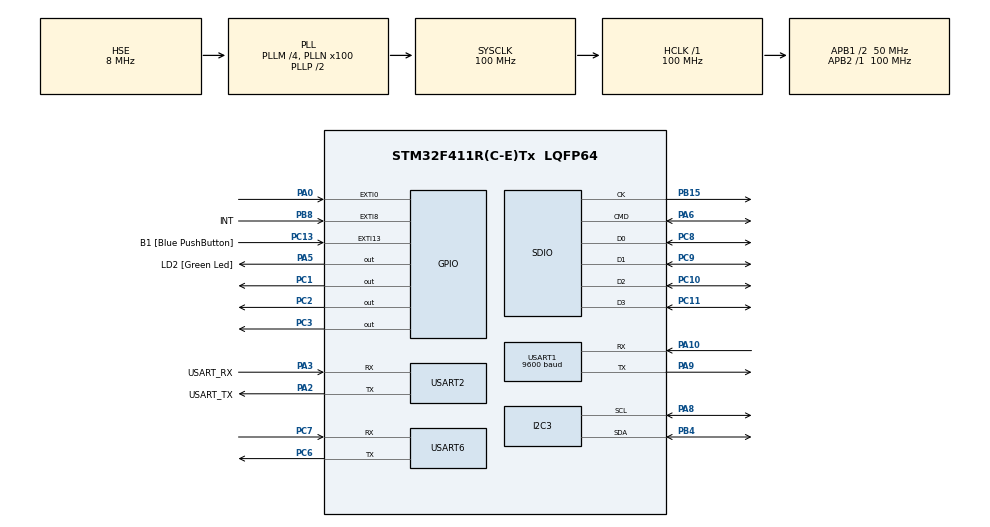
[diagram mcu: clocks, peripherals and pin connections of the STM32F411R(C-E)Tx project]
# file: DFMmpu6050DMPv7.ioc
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Dma.Request0=SDIO_RX
Dma.Request1=SDIO_TX
Dma.SDIO_RX.0.Direction=DMA_PERIPH_TO_MEMORY
Dma.SDIO_RX.0.FIFOMode=DMA_FIFOMODE_ENABLE
Dma.SDIO_RX.0.FIFOThreshold=DMA_FIFO_THRESHOLD_FULL
Dma.SDIO_RX.0.Instance=DMA2_Stream3
Dma.SDIO_RX.0.MemBurst=DMA_MBURST_INC4
Dma.SDIO_RX.0.MemDataAlignment=DMA_MDATAALIGN_WORD
Dma.SDIO_RX.0.MemInc=DMA_MINC_ENABLE
Dma.SDIO_RX.0.Mode=DMA_PFCTRL
Dma.SDIO_RX.0.PeriphBurst=DMA_PBURST_INC4
Dma.SDIO_RX.0.PeriphDataAlignment=DMA_PDATAALIGN_WORD
Dma.SDIO_RX.0.PeriphInc=DMA_PINC_DISABLE
Dma.SDIO_RX.0.Priority=DMA_PRIORITY_LOW
Dma.SDIO_TX.1.Direction=DMA_MEMORY_TO_PERIPH
Dma.SDIO_TX.1.FIFOMode=DMA_FIFOMODE_ENABLE
Dma.SDIO_TX.1.FIFOThreshold=DMA_FIFO_THRESHOLD_FULL
Dma.SDIO_TX.1.Instance=DMA2_Stream6
Dma.SDIO_TX.1.MemBurst=DMA_MBURST_INC4
Dma.SDIO_TX.1.MemDataAlignment=DMA_MDATAALIGN_WORD
Dma.SDIO_TX.1.MemInc=DMA_MINC_ENABLE
Dma.SDIO_TX.1.Mode=DMA_PFCTRL
Dma.SDIO_TX.1.PeriphBurst=DMA_PBURST_INC4
Dma.SDIO_TX.1.PeriphDataAlignment=DMA_PDATAALIGN_WORD
Dma.SDIO_TX.1.PeriphInc=DMA_PINC_DISABLE
Dma.SDIO_TX.1.Priority=DMA_PRIORITY_LOW
FATFS.USE_DMA_CODE_SD=1
I2C3.I2C_Mode=I2C_Fast
Mcu.Family=STM32F4
Mcu.Name=STM32F411R(C-E)Tx
Mcu.Package=LQFP64
NVIC.DMA2_Stream3_IRQn=true\:0\:0\:false\:false\:true\:false\:true
NVIC.DMA2_Stream6_IRQn=true\:0\:0\:false\:false\:true\:false\:true
NVIC.EXTI0_IRQn=true\:0\:0\:true\:false\:true\:true\:true
NVIC.EXTI9_5_IRQn=true\:0\:0\:false\:false\:true\:true\:true
NVIC.PriorityGroup=NVIC_PRIORITYGROUP_0
NVIC.SDIO_IRQn=true\:0\:0\:false\:false\:true\:true\:true
NVIC.USART1_IRQn=true\:0\:0\:false\:false\:true\:true\:true
NVIC.USART6_IRQn=true\:0\:0\:false\:false\:true\:true\:true
PA0-WKUP.Signal=GPXTI0
PA10.Mode=Asynchronous
PA10.Signal=USART1_RX
PA13.GPIO_Label=TMS
PA13.Mode=Serial_Wire
PA13.Signal=SYS_JTMS-SWDIO
PA14.GPIO_Label=TCK
PA14.Mode=Serial_Wire
PA14.Signal=SYS_JTCK-SWCLK
PA2.GPIO_Label=USART_TX
PA2.Mode=Asynchronous
PA2.Signal=USART2_TX
PA3.GPIO_Label=USART_RX
PA3.Mode=Asynchronous
PA3.Signal=USART2_RX
PA5.GPIO_Label=LD2 [Green Led]
PA5.Signal=GPIO_Output
PA6.Mode=SD_4_bits_Wide_bus
PA6.Signal=SDIO_CMD
PA8.Mode=I2C
PA8.Signal=I2C3_SCL
PA9.Mode=Asynchronous
PA9.Signal=USART1_TX
PB15.Mode=SD_4_bits_Wide_bus
PB15.Signal=SDIO_CK
PB3.GPIO_Label=SWO
PB3.Signal=SYS_JTDO-SWO
PB4.Mode=I2C
PB4.Signal=I2C3_SDA
PB8.GPIO_Label=INT
PB8.Signal=GPXTI8
PC1.Signal=GPIO_Output
PC10.Mode=SD_4_bits_Wide_bus
PC10.Signal=SDIO_D2
PC11.Mode=SD_4_bits_Wide_bus
PC11.Signal=SDIO_D3
PC13-ANTI_TAMP.GPIO_Label=B1 [Blue PushButton]
PC13-ANTI_TAMP.GPIO_ModeDefaultEXTI=GPIO_MODE_IT_FALLING
PC13-ANTI_TAMP.Signal=GPXTI13
PC14-OSC32_IN.Mode=LSE-External-Oscillator
PC14-OSC32_IN.Signal=RCC_OSC32_IN
PC15-OSC32_OUT.Mode=LSE-External-Oscillator
PC15-OSC32_OUT.Signal=RCC_OSC32_OUT
PC2.Signal=GPIO_Output
PC3.Signal=GPIO_Output
PC6.Mode=Asynchronous
PC6.Signal=USART6_TX
PC7.Mode=Asynchronous
PC7.Signal=USART6_RX
PC8.Mode=SD_4_bits_Wide_bus
PC8.Signal=SDIO_D0
PC9.Mode=SD_4_bits_Wide_bus
PC9.Signal=SDIO_D1
PH0\ -\ OSC_IN.Mode=HSE-External-Clock-Source
PH0\ -\ OSC_IN.Signal=RCC_OSC_IN
PH1\ -\ OSC_OUT.Mode=HSE-External-Clock-Source
PH1\ -\ OSC_OUT.Signal=RCC_OSC_OUT
ProjectManager.HeapSize=0x200
ProjectManager.StackSize=0x400
ProjectManager.TargetToolchain=STM32CubeIDE
RCC.48MHZClocksFreq_Value=40000000
RCC.AHBFreq_Value=100000000
RCC.APB1CLKDivider=RCC_HCLK_DIV2
RCC.APB1Freq_Value=50000000
RCC.APB1TimFreq_Value=100000000
RCC.APB2Freq_Value=100000000
RCC.APB2TimFreq_Value=100000000
RCC.CortexFreq_Value=100000000
RCC.FLatency-AdvancedSettings=FLASH_LATENCY_3
RCC.HCLKFreq_Value=100000000
RCC.HSE_VALUE=8000000
RCC.HSI_VALUE=16000000
RCC.PLLM=4
RCC.PLLN=100
RCC.PLLQ=5
RCC.PLLSourceVirtual=RCC_PLLSOURCE_HSE
RCC.SYSCLKFreq_VALUE=100000000
RCC.SYSCLKSource=RCC_SYSCLKSOURCE_PLLCLK
RCC.VCOOutputFreq_Value=200000000
USART1.BaudRate=9600
USART1.VirtualMode=VM_ASYNC
USART2.VirtualMode=VM_ASYNC
USART6.VirtualMode=VM_ASYNC
VP_FATFS_VS_SDIO.Mode=SDIO
board=NUCLEO-F411RE

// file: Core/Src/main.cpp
                      /* USER CODE BEGIN Header */
/**
  ******************************************************************************
  * @file           : main.c
  * @brief          : Main program body
  ******************************************************************************
  * @attention
  *
  * <h2><center>&copy; Copyright (c) 2021 STMicroelectronics.
  * All rights reserved.</center></h2>
  *
  * This software component is licensed by ST under Ultimate Liberty license
  * SLA0044, the "License"; You may not use this file except in compliance with
  * the License. You may obtain a copy of the License at:
  *                             www.st.com/SLA0044
  *
  ******************************************************************************
  */
/* USER CODE END Header */
#include "main.h"
#include "dma.h"
#include "fatfs.h"
#include "i2c.h"
#include "sdio.h"
#include "usart.h"
#include "gpio.h"

/* USER CODE BEGIN Includes */
#include "MPU6050_6Axis_MotionApps_V6_12.h"
/* USER CODE END Includes */

/* USER CODE BEGIN PV */
MPU6050 mpu;
//MPU6050 mpu(0x69); // <-- use for AD0 high

/* =========================================================================
   NOTE: In addition to connection 3.3v, GND, SDA, and SCL, this sketch
   depends on the MPU-6050's INT pin being connected to the Arduino's
   external interrupt #0 pin. On the Arduino Uno and Mega 2560, this is
   digital I/O pin 2.
   ========================================================================= */

/* =========================================================================
   NOTE: Arduino v1.0.1 with the Leonardo board generates a compile error
   when using Serial.write(buf, len). The Teapot output uses this method.
   The solution requires a modification to the Arduino USBAPI.h file, which
   is fortunately simple, but annoying. This will be fixed in the next IDE
   release. For more info, see these links:
   http://arduino.cc/forum/index.php/topic,109987.0.html
   http://code.google.com/p/arduino/issues/detail?id=958
   ========================================================================= */

// uncomment "OUTPUT_READABLE_QUATERNION" if you want to see the actual
// quaternion components in a [w, x, y, z] format (not best for parsing
// on a remote host such as Processing or something though)
//#define OUTPUT_READABLE_QUATERNION

// uncomment "OUTPUT_READABLE_EULER" if you want to see Euler angles
// (in degrees) calculated from the quaternions coming from the FIFO.
// Note that Euler angles suffer from gimbal lock (for more info, see
// http://en.wikipedia.org/wiki/Gimbal_lock)
//#define OUTPUT_READABLE_EULER

// uncomment "OUTPUT_READABLE_YAWPITCHROLL" if you want to see the yaw/
// pitch/roll angles (in degrees) calculated from the quaternions coming
// from the FIFO. Note this also requires gravity vector calculations.
// Also note that yaw/pitch/roll angles suffer from gimbal lock (for
// more info, see: http://en.wikipedia.org/wiki/Gimbal_lock)
#define OUTPUT_READABLE_YAWPITCHROLL

// uncomment "OUTPUT_READABLE_REALACCEL" if you want to see acceleration
// components with gravity removed. This acceleration reference frame is
// not compensated for orientation, so +X is always +X according to the
// sensor, just without the effects of gravity. If you want acceleration
// compensated for orientation, us OUTPUT_READABLE_WORLDACCEL instead.
//#define OUTPUT_READABLE_REALACCEL

// uncomment "OUTPUT_READABLE_WORLDACCEL" if you want to see acceleration
// components with gravity removed and adjusted for the world frame of
// reference (yaw is relative to initial orientation, since no magnetometer
// is present in this case). Could be quite handy in some cases.
//#define OUTPUT_READABLE_WORLDACCEL

// uncomment "OUTPUT_TEAPOT" if you want output that matches the
// format used for the InvenSense teapot demo
//#define OUTPUT_TEAPOT

bool blinkState = false;

// MPU control/status vars
bool dmpReady = false;  // set true if DMP init was successful
uint8_t mpuIntStatus;   // holds actual interrupt status byte from MPU
uint8_t devStatus;      // return status after each device operation (0 = success, !0 = error)
uint16_t packetSize;    // expected DMP packet size (default is 42 bytes)
uint16_t fifoCount;     // count of all bytes currently in FIFO
uint8_t fifoBuffer[64]; // FIFO storage buffer

// orientation/motion vars
Quaternion q;           // [w, x, y, z]         quaternion container
VectorInt16 aa;         // [x, y, z]            accel sensor measurements
VectorInt16 gy;         // [x, y, z]            gyro sensor measurements
VectorInt16 aaReal;     // [x, y, z]            gravity-free accel sensor measurements
VectorInt16 aaWorld;    // [x, y, z]            world-frame accel sensor measurements
VectorFloat gravity;    // [x, y, z]            gravity vector
float euler[3];         // [psi, theta, phi]    Euler angle container
float ypr[3];           // [yaw, pitch, roll]   yaw/pitch/roll container and gravity vector

// packet structure for InvenSense teapot demo
uint8_t teapotPacket[14] = { '$', 0x02, 0, 0, 0, 0, 0, 0, 0, 0, 0x00, 0x00, '\r', '\n' };

int16_t a_x,a_y,a_z,g_x,g_y,g_z;//6 motion
/* USER CODE END PV */

void SystemClock_Config(void);

int main(void)
{

  /* MCU Configuration--------------------------------------------------------*/

  /* Reset of all peripherals, Initializes the Flash interface and the Systick. */
  HAL_Init();

  /* Configure the system clock */
  SystemClock_Config();

  /* Initialize all configured peripherals */
  MX_GPIO_Init();
  MX_USART2_UART_Init();
  MX_DMA_Init();
  MX_SDIO_SD_Init();
  MX_USART1_UART_Init();
  MX_USART6_UART_Init();
  MX_FATFS_Init();
  MX_I2C3_Init();
  /* USER CODE BEGIN 2 */
  // initialize device

        printf(F("Initializing I2C devices...\n"));//F(x)=x
        mpu.initialize();
        delay(1000);

        // verify connection
        printf(F("Testing device connections...\n"));
    //    while(!mpu.testConnection())
    //    {
    //        HAL_I2C_MspDeInit(&hi2c1);
    //        __HAL_RCC_GPIOB_CLK_DISABLE();
    //        HAL_Delay(250);
    //        HAL_I2C_MspInit(&hi2c1);
    //        HAL_Delay(250);
    //        HAL_UART_Transmit(&huart1,(uint8_t *)".",1,100);
    //        //HAL_NVIC_SystemReset();
    //    }
        printf(mpu.testConnection() ? F("MPU6050 connection successful\n") : F("MPU6050 connection failed\n"));

        // wait for ready

        // load and configure the DMP
        printf(F("Initializing DMP...\n"));

        // supply your own gyro offsets here, scaled for min sensitivity
        mpu.setXGyroOffset(30);
        mpu.setYGyroOffset(58);
        mpu.setZGyroOffset(21);
        mpu.setXAccelOffset(0);
        mpu.setYAccelOffset(0);
        mpu.setZAccelOffset(0);

        devStatus = mpu.dmpInitialize();
        // make sure it worked (returns 0 if so)
        if (devStatus == 0)
        {
            // Calibration Time: generate offsets and calibrate our MPU6050
            mpu.CalibrateAccel(6);
            mpu.CalibrateGyro(6);
            mpu.PrintActiveOffsets();
            // turn on the DMP, now that it's ready
            printf(F("Enabling DMP...\n"));
            mpu.setDMPEnabled(true);

            // enable Arduino interrupt detection
            mpuIntStatus = mpu.getIntStatus();

            // set our DMP Ready flag so the main loop() function knows it's okay to use it
            printf(F("DMP ready! Waiting for first interrupt...\n"));
    //        float a;
    //        printf("int is %d\n",sizeof(a));
            dmpReady = true;

            // get expected DMP packet size for later comparison
            packetSize = mpu.dmpGetFIFOPacketSize();
        }
        else
        {
            // ERROR!
            // 1 = initial memory load failed
            // 2 = DMP configuration updates failed
            // (if it's going to break, usually the code will be 1)
            printf(F("DMP Initialization failed (code "));
            printf("%d",devStatus);
            printf(F(")\n"));
        }
  /* USER CODE END 2 */

  /* Infinite loop */
  /* USER CODE BEGIN WHILE */
  while (1)
  {
	  if (!dmpReady)
	  	 	 	        continue;
	  	 	 	    if (mpu.dmpGetCurrentFIFOPacket(fifoBuffer))
	  	 	 	    {
	  	 	 	/* USER CODE BEGIN 3 */
	  	 	 	#ifdef OUTPUT_READABLE_QUATERNION
	  	 	 	        // display quaternion values in easy matrix form: w x y z
	  	 	 	        mpu.dmpGetQuaternion(&q, fifoBuffer);
	  	 	 	        printf("quat\t");
	  	 	 	        printf(q.w);
	  	 	 	        printf("\t");
	  	 	 	        printf(q.x);
	  	 	 	        printf("\t");
	  	 	 	        printf(q.y);
	  	 	 	        printf("\t");
	  	 	 	        printfln(q.z);
	  	 	 	#endif

	  	 	 	#ifdef OUTPUT_READABLE_EULER
	  	 	 	        // display Euler angles in degrees
	  	 	 	        mpu.dmpGetQuaternion(&q, fifoBuffer);
	  	 	 	        mpu.dmpGetEuler(euler, &q);
	  	 	 	        printf("euler\t");
	  	 	 	        printf(euler[0] * 180 / M_PI);
	  	 	 	        printf("\t");
	  	 	 	        printf(euler[1] * 180 / M_PI);
	  	 	 	        printf("\t");
	  	 	 	        printfln(euler[2] * 180 / M_PI);
	  	 	 	#endif

	  	 	 	#ifdef OUTPUT_READABLE_YAWPITCHROLL
	  	 	 	        // display Euler angles in degrees
	  	 	 	        mpu.dmpGetQuaternion(&q, fifoBuffer);
	  	 	 	        mpu.dmpGetGravity(&gravity, &q);
	  	 	 	        mpu.dmpGetYawPitchRoll(ypr, &q, &gravity);
	  	 	 	        //mpu.getMotion6(&a_x, &a_y, &a_z, &g_x, &g_y, &g_z);
	  	 	 	        //printf("6:\t%d\t%d\t%d\t%d\t%d\t%d\n", a_x, a_y, a_z, g_x, g_y, g_z);
	  	 	 	        printf("ypr: ");
	  	 	 	        printf("%.2f", ypr[0] * 180 / M_PI);
	  	 	 	        printf("\t");
	  	 	 	        printf("%.2f", ypr[1] * 180 / M_PI);
	  	 	 	        printf("\t");
	  	 	 	        printf("%.2f", ypr[2] * 180 / M_PI);
	  	 	 	        printf("\r\n");
	  	 	 	        /*
	  	 	 	          mpu.dmpGetAccel(&aa, fifoBuffer);
	  	 	 	          printf("\tRaw Accl XYZ\t");
	  	 	 	          printf(aa.x);
	  	 	 	          printf("\t");
	  	 	 	          printf(aa.y);
	  	 	 	          printf("\t");
	  	 	 	          printf(aa.z);
	  	 	 	          mpu.dmpGetGyro(&gy, fifoBuffer);
	  	 	 	          printf("\tRaw Gyro XYZ\t");
	  	 	 	          printf(gy.x);
	  	 	 	          printf("\t");
	  	 	 	          printf(gy.y);
	  	 	 	          printf("\t");
	  	 	 	          printf(gy.z);
	  	 	 	        */
	  	 	 	        printf("\n");

	  	 	 	#endif

	  	 	 	#ifdef OUTPUT_READABLE_REALACCEL
	  	 	 	        // display real acceleration, adjusted to remove gravity
	  	 	 	        mpu.dmpGetQuaternion(&q, fifoBuffer);
	  	 	 	        mpu.dmpGetAccel(&aa, fifoBuffer);
	  	 	 	        mpu.dmpGetGravity(&gravity, &q);
	  	 	 	        mpu.dmpGetLinearAccel(&aaReal, &aa, &gravity);
	  	 	 	        printf("areal\t");
	  	 	 	        printf(aaReal.x);
	  	 	 	        printf("\t");
	  	 	 	        printf(aaReal.y);
	  	 	 	        printf("\t");
	  	 	 	        printfln(aaReal.z);
	  	 	 	#endif

	  	 	 	#ifdef OUTPUT_READABLE_WORLDACCEL
	  	 	 	        // display initial world-frame acceleration, adjusted to remove gravity
	  	 	 	        // and rotated based on known orientation from quaternion
	  	 	 	        mpu.dmpGetQuaternion(&q, fifoBuffer);
	  	 	 	        mpu.dmpGetAccel(&aa, fifoBuffer);
	  	 	 	        mpu.dmpGetGravity(&gravity, &q);
	  	 	 	        mpu.dmpGetLinearAccel(&aaReal, &aa, &gravity);
	  	 	 	        mpu.dmpGetLinearAccelInWorld(&aaWorld, &aaReal, &q);
	  	 	 	        printf("aworld\t");
	  	 	 	        printf(aaWorld.x);
	  	 	 	        printf("\t");
	  	 	 	        printf(aaWorld.y);
	  	 	 	        printf("\t");
	  	 	 	        printfln(aaWorld.z);
	  	 	 	#endif

	  	 	 	#ifdef OUTPUT_TEAPOT
	  	 	 	        // display quaternion values in InvenSense Teapot demo format:
	  	 	 	        teapotPacket[2] = fifoBuffer[0];
	  	 	 	        teapotPacket[3] = fifoBuffer[1];
	  	 	 	        teapotPacket[4] = fifoBuffer[4];
	  	 	 	        teapotPacket[5] = fifoBuffer[5];
	  	 	 	        teapotPacket[6] = fifoBuffer[8];
	  	 	 	        teapotPacket[7] = fifoBuffer[9];
	  	 	 	        teapotPacket[8] = fifoBuffer[12];
	  	 	 	        teapotPacket[9] = fifoBuffer[13];
	  	 	 	        Serial.write(teapotPacket, 14);
	  	 	 	        teapotPacket[11]++; // packetCount, loops at 0xFF on purpose
	  	 	 	#endif
	  	 	 	        printf("good\n");
	  	 	 	        HAL_Delay(10);
	  	 	 	    }
	  	 	 	    else{
	  	 	 	        printf("fifo error!\n");
	  	 	 	        HAL_Delay(1000);
	  	 	 	    }
    /* USER CODE END WHILE */

  }
}

void SystemClock_Config(void)
{
  RCC_OscInitTypeDef RCC_OscInitStruct = {0};
  RCC_ClkInitTypeDef RCC_ClkInitStruct = {0};

  /** Configure the main internal regulator output voltage
  */
  __HAL_RCC_PWR_CLK_ENABLE();
  __HAL_PWR_VOLTAGESCALING_CONFIG(PWR_REGULATOR_VOLTAGE_SCALE1);
  /** Initializes the RCC Oscillators according to the specified parameters
  * in the RCC_OscInitTypeDef structure.
  */
  RCC_OscInitStruct.OscillatorType = RCC_OSCILLATORTYPE_HSE;
  RCC_OscInitStruct.HSEState = RCC_HSE_BYPASS;
  RCC_OscInitStruct.PLL.PLLState = RCC_PLL_ON;
  RCC_OscInitStruct.PLL.PLLSource = RCC_PLLSOURCE_HSE;
  RCC_OscInitStruct.PLL.PLLM = 4;
  RCC_OscInitStruct.PLL.PLLN = 100;
  RCC_OscInitStruct.PLL.PLLP = RCC_PLLP_DIV2;
  RCC_OscInitStruct.PLL.PLLQ = 5;
  if (HAL_RCC_OscConfig(&RCC_OscInitStruct) != HAL_OK)
  {
    Error_Handler();
  }
  /** Initializes the CPU, AHB and APB buses clocks
  */
  RCC_ClkInitStruct.ClockType = RCC_CLOCKTYPE_HCLK|RCC_CLOCKTYPE_SYSCLK
                              |RCC_CLOCKTYPE_PCLK1|RCC_CLOCKTYPE_PCLK2;
  RCC_ClkInitStruct.SYSCLKSource = RCC_SYSCLKSOURCE_PLLCLK;
  RCC_ClkInitStruct.AHBCLKDivider = RCC_SYSCLK_DIV1;
  RCC_ClkInitStruct.APB1CLKDivider = RCC_HCLK_DIV2;
  RCC_ClkInitStruct.APB2CLKDivider = RCC_HCLK_DIV1;

  if (HAL_RCC_ClockConfig(&RCC_ClkInitStruct, FLASH_LATENCY_3) != HAL_OK)
  {
    Error_Handler();
  }
}

void Error_Handler(void)
{
  __disable_irq();
  while (1)
  {
  }
}

/************************ (C) COPYRIGHT STMicroelectronics *****END OF FILE****/
